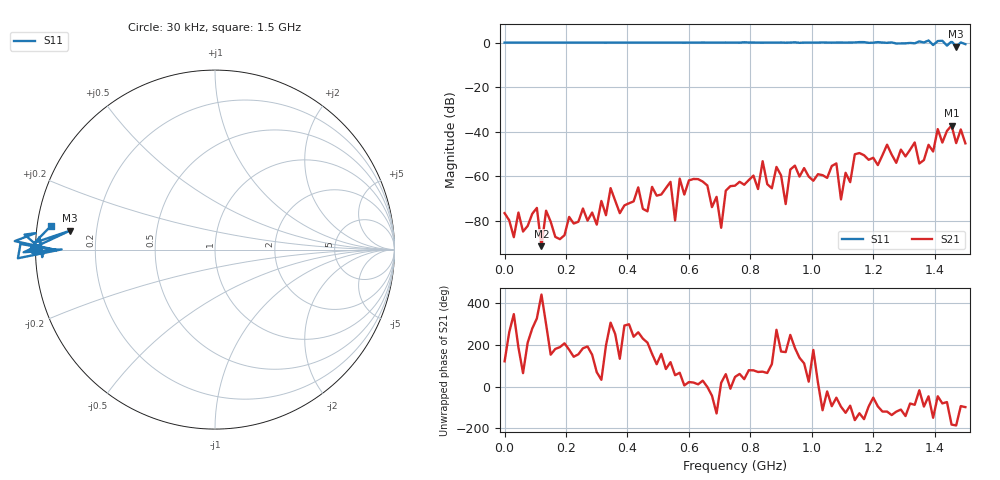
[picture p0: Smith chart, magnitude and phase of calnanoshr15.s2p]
# HZ S RI R 50
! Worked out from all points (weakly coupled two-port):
!   101 points, 30 kHz to 1.5 GHz, reference 50 ohm
!   highest |S21| = -37.22 dB at 1.455 GHz (marker M1); lowest = -91.4 dB at 120 MHz (marker M2)
!   lowest |S11| = -1.8 dB at 1.47 GHz (marker M3), VSWR 9.89, Z = 5.07 + j3.19 ohm
!   |S11| at or under -10 dB: nowhere
!   S12 and S22 are empty: the file has one direction only
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30000  -1.001 -0.000441  -7.65e-05 0.000128  0 0  0 0
1.200276e8  -0.9994 -0.000281  4.25e-06 2.67e-05  0 0  0 0
2.550249e8  -0.9998 -7.51e-06  -0.000189 -1.14e-05  0 0  0 0
5.100198e8  -1 0.00231  -0.000357 0.000157  0 0  0 0
5.400192e8  -0.9997 -0.00189  -0.000339 0.000669  0 0  0 0
5.550189e8  -0.9982 -0.000693  5.98e-05 8.3e-05  0 0  0 0
5.700186e8  -0.9987 0.000611  0.000358 0.000811  0 0  0 0
6.300174e8  -1.001 -0.000241  0.000849 0.000158  0 0  0 0
7.050159e8  -1.001 -0.00189  6.64e-05 2.17e-05  0 0  0 0
7.50015e8  -1.002 0.000171  0.000428 0.000443  0 0  0 0
8.250135e8  -0.9995 -0.000289  0.000178 0.000486  0 0  0 0
8.400132e8  -0.9954 -0.00223  0.000702 0.00206  0 0  0 0
9.150117e8  -0.993 -0.00949  -0.00023 6.19e-05  0 0  0 0
9.450111e8  -1.013 -0.00787  -0.00173 -0.000158  0 0  0 0
1.00501e9  -0.9978 0.000858  -0.00079 6.53e-05  0 0  0 0
1.080008e9  -1.003 0.00797  0.00116 -0.00156  0 0  0 0
1.095008e9  -1.007 0.00169  -3.44e-05 -0.0003  0 0  0 0
1.140007e9  -1.008 -0.0118  -0.00295 -0.00101  0 0  0 0
1.260005e9  -1.011 0.0147  -0.00223 -0.00211  0 0  0 0
1.455001e9  -1.066 -0.0149  -0.0138 0.000614  0 0  0 0
1.470001e9  -0.8096 0.1049  -0.00551 0.000636  0 0  0 0
1.5e9  -0.9141 0.1315  -0.000828 -0.00542  0 0  0 0
